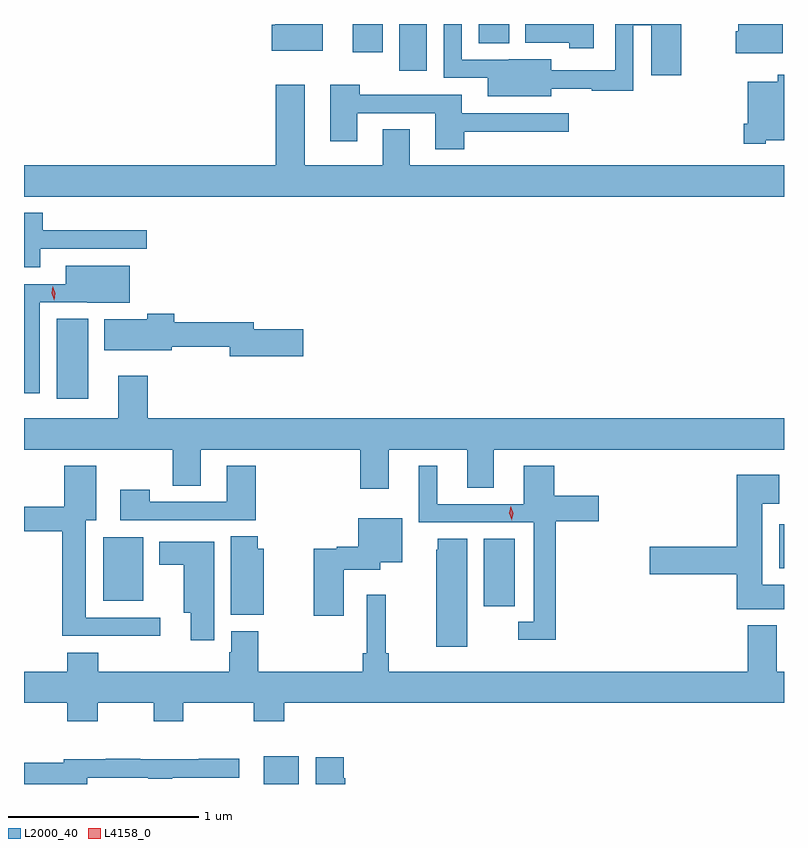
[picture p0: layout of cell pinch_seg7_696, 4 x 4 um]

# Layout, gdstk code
import gdstk
lib = gdstk.Library(unit=1e-6, precision=1e-09)
def R(c, l, rs):  # rectangles x0, y0, x1, y1
    for r in rs: c.add(gdstk.rectangle(r[:2], r[2:], *l))
def P(c, l, *ps):  # polygons
    for p in ps: c.add(gdstk.Polygon(p, *l))
L2000_40 = (2000, 40)
L4158_0 = (4158, 0)

pinch_seg7_696 = lib.new_cell('pinch_seg7_696')
R(pinch_seg7_696, L2000_40, [(338.018,1028.16,338.203,1028.305), (339.176,1029.096,339.34,1029.452), (337.172,1029.125,337.384,1029.46), (340.73,1029.296,340.756,1029.526), (336.929,1030.188,337.093,1030.609), (338.732,1031.913,338.875,1032.16), (338.486,1032.012,338.644,1032.16), (339.149,1032.059,339.31,1032.16)])
P(pinch_seg7_696, L2000_40, [(340.75,1032.16),(340.514,1032.16),(340.514,1032.123),(340.502,1032.123),(340.502,1032.005),(340.75,1032.005)],
  [(339.754,1032.16),(339.395,1032.16),(339.395,1032.062),(339.625,1032.062),(339.625,1032.032),(339.754,1032.032)],
  [(339.532,1031.82),(339.744,1031.82),(339.744,1031.808),(339.963,1031.808),(339.963,1032.154),(340.058,1032.154),(340.058,1031.889),(340.216,1031.889),(340.216,1032.16),(339.867,1032.16),(339.867,1031.916),(339.532,1031.916),(339.532,1031.974),(339.306,1031.974),(339.306,1031.973),(339.06,1031.973),(339.06,1032.16),(338.964,1032.16),(338.964,1031.877),(339.197,1031.877),(339.197,1031.78),(339.532,1031.78)],
  [(338.329,1032.16),(338.078,1032.16),(338.078,1032.156),(338.06,1032.156),(338.06,1032.02),(338.329,1032.02)],
  [(340.659,1031.549),(340.756,1031.549),(340.756,1031.893),(340.724,1031.893),(340.724,1031.857),(340.565,1031.857),(340.565,1031.635),(340.544,1031.635),(340.544,1031.531),(340.659,1031.531)],
  [(340.756,1031.416),(338.785,1031.416),(338.785,1031.606),(338.645,1031.606),(338.645,1031.416),(338.233,1031.416),(338.233,1031.839),(338.081,1031.839),(338.081,1031.416),(336.756,1031.416),(336.756,1031.252),(340.756,1031.252)],
  [(339.074,1031.594),(339.622,1031.594),(339.622,1031.691),(339.061,1031.691),(339.061,1031.787),(338.522,1031.787),(338.522,1031.839),(338.369,1031.839),(338.369,1031.544),(338.509,1031.544),(338.509,1031.691),(338.921,1031.691),(338.921,1031.502),(339.074,1031.502)],
  [(336.841,1030.977),(337.402,1030.977),(337.402,1031.074),(336.854,1031.074),(336.854,1031.167),(336.756,1031.167),(336.756,1030.881),(336.841,1030.881)],
  [(336.84,1030.695),(337.089,1030.695),(337.089,1030.694),(337.312,1030.694),(337.312,1030.888),(336.977,1030.888),(336.977,1030.791),(336.756,1030.791),(336.756,1030.217),(336.84,1030.217)],
  [(338.227,1030.553),(337.966,1030.553),(337.966,1030.589),(337.547,1030.589),(337.547,1030.636),(337.405,1030.636),(337.405,1030.606),(337.178,1030.606),(337.178,1030.442),(337.534,1030.442),(337.534,1030.461),(337.838,1030.461),(337.838,1030.411),(338.227,1030.411)],
  [(338.677,1029.92),(339.089,1029.92),(339.089,1029.718),(339.229,1029.718),(339.229,1029.92),(340.756,1029.92),(340.756,1030.084),(337.406,1030.084),(337.406,1030.309),(337.253,1030.309),(337.253,1030.084),(336.756,1030.084),(336.756,1029.92),(337.54,1029.92),(337.54,1029.73),(337.687,1029.73),(337.687,1029.92),(338.525,1029.92),(338.525,1029.714),(338.677,1029.714)],
  [(337.976,1029.835),(337.823,1029.835),(337.823,1029.645),(337.419,1029.645),(337.419,1029.709),(337.263,1029.709),(337.263,1029.549),(337.976,1029.549)],
  [(339.554,1029.542),(339.781,1029.542),(339.781,1029.676),(339.548,1029.676),(339.548,1029.835),(339.386,1029.835),(339.386,1029.633),(338.932,1029.633),(338.932,1029.835),(338.834,1029.835),(338.834,1029.537),(339.438,1029.537),(339.438,1029.015),(339.357,1029.015),(339.357,1028.918),(339.554,1028.918)],
  [(337.474,1029.036),(337.081,1029.036),(337.081,1029.548),(337.135,1029.548),(337.135,1029.835),(336.968,1029.835),(336.968,1029.619),(336.756,1029.619),(336.756,1029.49),(336.956,1029.49),(336.956,1028.939),(337.474,1028.939)],
  [(340.756,1029.208),(340.642,1029.208),(340.642,1029.635),(340.732,1029.635),(340.732,1029.787),(340.508,1029.787),(340.508,1029.41),(340.05,1029.41),(340.05,1029.263),(340.508,1029.263),(340.508,1029.08),(340.756,1029.08)],
  [(338.44,1029.287),(338.632,1029.287),(338.632,1029.326),(338.746,1029.326),(338.746,1029.559),(338.516,1029.559),(338.516,1029.41),(338.403,1029.41),(338.403,1029.397),(338.282,1029.397),(338.282,1029.045),(338.44,1029.045)],
  [(338.017,1029.397),(337.986,1029.397),(337.986,1029.464),(337.844,1029.464),(337.844,1029.05),(338.017,1029.05)],
  [(339.088,1029.452),(338.933,1029.452),(338.933,1029.393),(338.927,1029.393),(338.927,1028.882),(339.088,1028.882)],
  [(337.756,1029.436),(337.469,1029.436),(337.469,1029.314),(337.598,1029.314),(337.598,1029.062),(337.634,1029.062),(337.634,1028.916),(337.756,1028.916)],
  [(337.143,1028.588),(337.438,1028.588),(337.438,1028.489),(337.593,1028.489),(337.593,1028.588),(337.966,1028.588),(337.966,1028.489),(338.126,1028.489),(338.126,1028.588),(340.756,1028.588),(340.756,1028.752),(340.717,1028.752),(340.717,1028.995),(340.565,1028.995),(340.565,1028.752),(338.675,1028.752),(338.675,1028.848),(338.66,1028.848),(338.66,1029.157),(338.559,1029.157),(338.559,1028.848),(338.539,1028.848),(338.539,1028.752),(337.988,1028.752),(337.988,1028.965),(337.847,1028.965),(337.847,1028.853),(337.835,1028.853),(337.835,1028.752),(337.148,1028.752),(337.148,1028.851),(336.983,1028.851),(336.983,1028.752),(336.756,1028.752),(336.756,1028.588),(336.983,1028.588),(336.983,1028.489),(337.143,1028.489)],
  [(338.447,1028.189),(338.44,1028.189),(338.44,1028.302),(338.291,1028.302),(338.291,1028.16),(338.447,1028.16)],
  [(337.09,1028.193),(337.411,1028.193),(337.411,1028.188),(337.535,1028.188),(337.535,1028.193),(337.888,1028.193),(337.888,1028.294),(337.675,1028.294),(337.675,1028.291),(337.369,1028.291),(337.369,1028.294),(337.186,1028.294),(337.186,1028.291),(336.965,1028.291),(336.965,1028.272),(336.756,1028.272),(336.756,1028.16),(337.09,1028.16)])
P(pinch_seg7_696, L4158_0, [(336.914,1030.707),(336.914,1030.707),(336.901,1030.742),(336.908,1030.779),(336.908,1030.779),(336.908,1030.779),(336.921,1030.744),(336.915,1030.707)],
  [(339.322,1029.549),(339.322,1029.55),(339.31,1029.585),(339.319,1029.621),(339.319,1029.621),(339.319,1029.621),(339.33,1029.586),(339.322,1029.55)])

lib.write_gds('pinch_seg7_696.gds')
